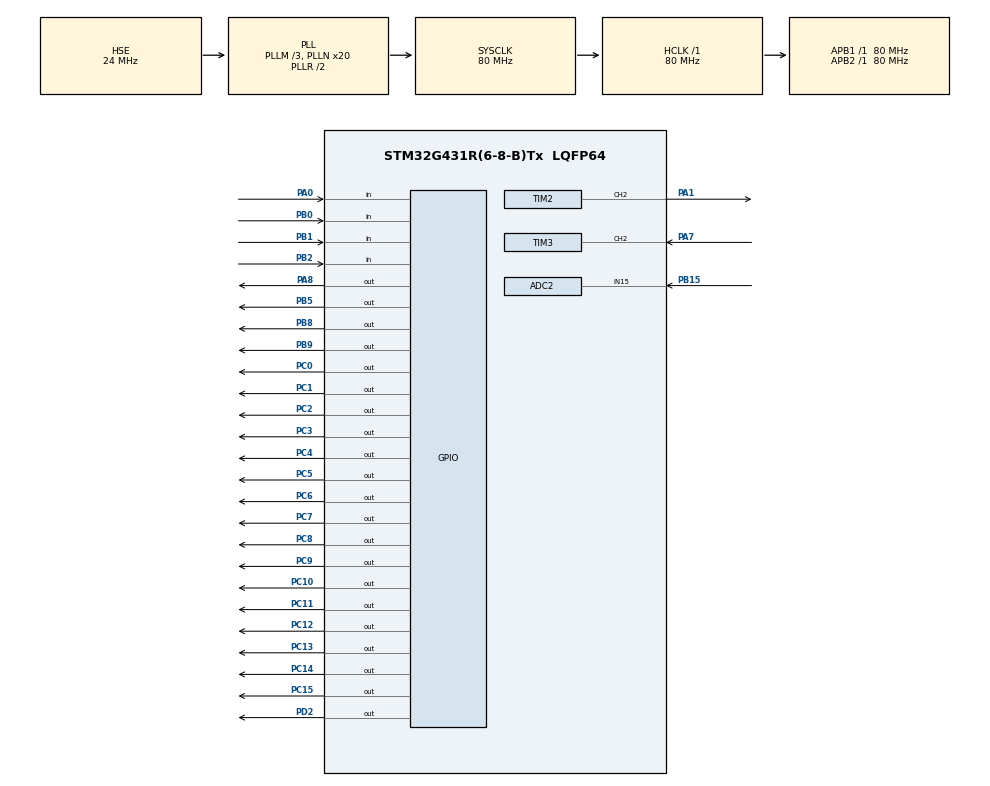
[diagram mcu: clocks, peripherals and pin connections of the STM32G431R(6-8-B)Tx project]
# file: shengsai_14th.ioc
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ADC2.Channel-0\#ChannelRegularConversion=ADC_CHANNEL_15
ADC2.NbrOfConversionFlag=1
ADC2.OffsetNumber-0\#ChannelRegularConversion=ADC_OFFSET_NONE
ADC2.Rank-0\#ChannelRegularConversion=1
ADC2.SamplingTime-0\#ChannelRegularConversion=ADC_SAMPLETIME_2CYCLES_5
Mcu.Family=STM32G4
Mcu.Name=STM32G431R(6-8-B)Tx
Mcu.Package=LQFP64
NVIC.PriorityGroup=NVIC_PRIORITYGROUP_4
NVIC.TIM1_UP_TIM16_IRQn=true\:0\:0\:false\:false\:true\:true\:true\:true
NVIC.TIM3_IRQn=true\:0\:0\:false\:false\:true\:true\:true\:true
NVIC.TIM4_IRQn=true\:1\:0\:true\:false\:true\:true\:true\:true
PA0.GPIO_PuPd=GPIO_PULLUP
PA0.Signal=GPIO_Input
PA1.Signal=S_TIM2_CH2
PA7.Signal=S_TIM3_CH2
PA8.Signal=GPIO_Output
PB0.GPIO_PuPd=GPIO_PULLUP
PB0.Signal=GPIO_Input
PB1.GPIO_PuPd=GPIO_PULLUP
PB1.Signal=GPIO_Input
PB15.Mode=IN15-Single-Ended
PB15.Signal=ADC2_IN15
PB2.GPIO_PuPd=GPIO_PULLUP
PB2.Signal=GPIO_Input
PB5.Signal=GPIO_Output
PB8-BOOT0.Signal=GPIO_Output
PB9.Signal=GPIO_Output
PC0.Signal=GPIO_Output
PC1.Signal=GPIO_Output
PC10.PinState=GPIO_PIN_SET
PC10.Signal=GPIO_Output
PC11.PinState=GPIO_PIN_SET
PC11.Signal=GPIO_Output
PC12.PinState=GPIO_PIN_SET
PC12.Signal=GPIO_Output
PC13.PinState=GPIO_PIN_SET
PC13.Signal=GPIO_Output
PC14-OSC32_IN.PinState=GPIO_PIN_SET
PC14-OSC32_IN.Signal=GPIO_Output
PC15-OSC32_OUT.PinState=GPIO_PIN_SET
PC15-OSC32_OUT.Signal=GPIO_Output
PC2.Signal=GPIO_Output
PC3.Signal=GPIO_Output
PC4.Signal=GPIO_Output
PC5.Signal=GPIO_Output
PC6.Signal=GPIO_Output
PC7.Signal=GPIO_Output
PC8.PinState=GPIO_PIN_SET
PC8.Signal=GPIO_Output
PC9.PinState=GPIO_PIN_SET
PC9.Signal=GPIO_Output
PD2.Signal=GPIO_Output
PF0-OSC_IN.Mode=HSE-External-Oscillator
PF0-OSC_IN.Signal=RCC_OSC_IN
PF1-OSC_OUT.Mode=HSE-External-Oscillator
PF1-OSC_OUT.Signal=RCC_OSC_OUT
ProjectManager.HeapSize=0x200
ProjectManager.StackSize=0x400
ProjectManager.TargetToolchain=MDK-ARM V5.32
RCC.ADC12Freq_Value=80000000
RCC.AHBFreq_Value=80000000
RCC.APB1Freq_Value=80000000
RCC.APB1TimFreq_Value=80000000
RCC.APB2Freq_Value=80000000
RCC.APB2TimFreq_Value=80000000
RCC.CortexFreq_Value=80000000
RCC.EXTERNAL_CLOCK_VALUE=12288000
RCC.HCLKFreq_Value=80000000
RCC.HSE_VALUE=24000000
RCC.HSI48_VALUE=48000000
RCC.HSI_VALUE=16000000
RCC.LSE_VALUE=32768
RCC.PLLM=RCC_PLLM_DIV3
RCC.PLLN=20
RCC.PLLSourceVirtual=RCC_PLLSOURCE_HSE
RCC.SYSCLKFreq_VALUE=80000000
RCC.SYSCLKSource=RCC_SYSCLKSOURCE_PLLCLK
RCC.USBFreq_Value=80000000
RCC.VCOOutputFreq_Value=160000000
SH.S_TIM2_CH2.0=TIM2_CH2,PWM Generation2 CH2
SH.S_TIM3_CH2.0=TIM3_CH2,Input_Capture2_from_TI2
TIM16.Prescaler=80-1
TIM2.Channel-PWM\ Generation2\ CH2=TIM_CHANNEL_2
TIM2.PeriodNoDither=200-1
TIM2.Prescaler=100-1
TIM3.Channel-Input_Capture2_from_TI2=TIM_CHANNEL_2
TIM3.Prescaler=80-1
TIM4.PeriodNoDither=10000-1
TIM4.Prescaler=80-1
VP_SYS_VS_DBSignals.Mode=DisableDeadBatterySignals
VP_TIM16_VS_ClockSourceINT.Mode=Enable_Timer
VP_TIM2_VS_ClockSourceINT.Mode=Internal
VP_TIM3_VS_ClockSourceINT.Mode=Internal
VP_TIM4_VS_ClockSourceINT.Mode=Internal
board=custom

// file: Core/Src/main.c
/* USER CODE BEGIN Header */
/**
  ******************************************************************************
  * @file           : main.c
  * @brief          : Main program body
  ******************************************************************************
  * @attention
  *
  * Copyright (c) 2024 STMicroelectronics.
  * All rights reserved.
  *
  * This software is licensed under terms that can be found in the LICENSE file
  * in the root directory of this software component.
  * If no LICENSE file comes with this software, it is provided AS-IS.
  *
  ******************************************************************************
  */
/* USER CODE END Header */
#include "main.h"
#include "adc.h"
#include "tim.h"
#include "gpio.h"

/* USER CODE BEGIN Includes */

#include "lcd.h"
#include "led.h"
#include "timer.h"
#include "myadc.h"

#include "stdio.h"
#include "String.h"

/* USER CODE END Includes */

void SystemClock_Config(void);
/* USER CODE BEGIN PFP */
void key_proc(void);
void lcd_proc(void);
void led_proc(void);

/* USER CODE END PFP */

/* USER CODE BEGIN 0 */

//led灯
unsigned char ucled;

//在lcd屏上显示的数据
unsigned char lcd_text[30];

//显示界面选择
unsigned char view=0;
__IO uint32_t uwTick_lcd;//减速函数
__IO uint32_t uwTick_led;//减速函数

//参数调整选择
unsigned char choose_RK=0;

unsigned char flag_k2=0;

/* USER CODE END 0 */

int main(void)
{

  /* MCU Configuration--------------------------------------------------------*/

  /* Reset of all peripherals, Initializes the Flash interface and the Systick. */
  HAL_Init();

  /* Configure the system clock */
  SystemClock_Config();

  /* Initialize all configured peripherals */
  MX_GPIO_Init();
  MX_ADC2_Init();
  MX_TIM2_Init();
  MX_TIM4_Init();
  MX_TIM3_Init();
  MX_TIM16_Init();
  /* USER CODE BEGIN 2 */

    led_disp(0x00);

    LCD_Init();
    LCD_Clear(Black);
    LCD_SetBackColor(Black);
    LCD_SetTextColor(White);

    HAL_TIM_Base_Start_IT(&htim4);

    HAL_TIM_PWM_Start(&htim2,TIM_CHANNEL_2);

    HAL_TIM_IC_Start_IT(&htim3,TIM_CHANNEL_2);

/* USER CODE END 2 */

  /* Infinite loop */
  while (1)
  {

    /* USER CODE BEGIN 3 */

      key_proc();
      led_proc();
      lcd_proc();
  }
  /* USER CODE END 3 */
}

void SystemClock_Config(void)
{
  RCC_OscInitTypeDef RCC_OscInitStruct = {0};
  RCC_ClkInitTypeDef RCC_ClkInitStruct = {0};

  /** Configure the main internal regulator output voltage
  */
  HAL_PWREx_ControlVoltageScaling(PWR_REGULATOR_VOLTAGE_SCALE1);

  /** Initializes the RCC Oscillators according to the specified parameters
  * in the RCC_OscInitTypeDef structure.
  */
  RCC_OscInitStruct.OscillatorType = RCC_OSCILLATORTYPE_HSE;
  RCC_OscInitStruct.HSEState = RCC_HSE_ON;
  RCC_OscInitStruct.PLL.PLLState = RCC_PLL_ON;
  RCC_OscInitStruct.PLL.PLLSource = RCC_PLLSOURCE_HSE;
  RCC_OscInitStruct.PLL.PLLM = RCC_PLLM_DIV3;
  RCC_OscInitStruct.PLL.PLLN = 20;
  RCC_OscInitStruct.PLL.PLLP = RCC_PLLP_DIV2;
  RCC_OscInitStruct.PLL.PLLQ = RCC_PLLQ_DIV2;
  RCC_OscInitStruct.PLL.PLLR = RCC_PLLR_DIV2;
  if (HAL_RCC_OscConfig(&RCC_OscInitStruct) != HAL_OK)
  {
    Error_Handler();
  }

  /** Initializes the CPU, AHB and APB buses clocks
  */
  RCC_ClkInitStruct.ClockType = RCC_CLOCKTYPE_HCLK|RCC_CLOCKTYPE_SYSCLK
                              |RCC_CLOCKTYPE_PCLK1|RCC_CLOCKTYPE_PCLK2;
  RCC_ClkInitStruct.SYSCLKSource = RCC_SYSCLKSOURCE_PLLCLK;
  RCC_ClkInitStruct.AHBCLKDivider = RCC_SYSCLK_DIV1;
  RCC_ClkInitStruct.APB1CLKDivider = RCC_HCLK_DIV1;
  RCC_ClkInitStruct.APB2CLKDivider = RCC_HCLK_DIV1;

  if (HAL_RCC_ClockConfig(&RCC_ClkInitStruct, FLASH_LATENCY_2) != HAL_OK)
  {
    Error_Handler();
  }
}

/* USER CODE BEGIN 4 */

void key_proc(void)
{
    if(1==key[0].single_flag)//B1被按下
    {
        key[0].single_flag=0;

        view++;
        if(3==view)view=0;
        LCD_Clear(Black);

    }
    else if(1==key[1].single_flag)//B2被按下
    {
        key[1].single_flag=0;

        if(0==view&&flag_k2==0)//数据界面,选择低频或高频模式，按键按下后，5秒内不可再触发切换功能
        {
            if(0==uwTick_view)
            flag_k2=1;
        }
        else if(1==view)//参数界面
        {
            choose_RK=!choose_RK;
        }

    }
    else if(1==key[2].single_flag)//B3被按下
    {
        key[2].single_flag=0;
        if(1==view)//参数界面，当前可调整参数加1
        {
            if(0==choose_RK)//可调整参数为R
            {
                R++;
                if(R>10)R=1;
            }
            else if(1==choose_RK)//可调整参数为K
            {
                K++;
                if(K>10)K=1;
            }
        }
    }
    else if(1==key[3].single_flag)//B4被按下
    {
        key[3].single_flag=0;
        if(1==view)//参数界面，当前可调整参数减1
        {
            if(0==choose_RK)//可调整参数为R
            {
                R--;
                if(R<=0)R=10;
            }
            else if(1==choose_RK)//可调整参数为K
            {
                K--;
                if(K<=0)K=10;
            }
        }
        else if(0==view)//数据界面
        {

            if(1==key[3].long_single)
            {
                lock=1;//进入锁定模式
                key[3].long_single=0;
            }
            else
            {
                if(lock==1)
                {
                    lock=0;//实现解锁
                }
            }
        }
    }

}

void lcd_proc(void)
{
   if((uwTick-uwTick_lcd)<=100)return;
        uwTick_lcd=uwTick;

//   if((200==pa1_frq)&&(speed_v>L_max))L_max=speed_v;
//    if((100==pa1_frq)&&(speed_v>H_max))H_max=speed_v;

    switch(view)
    {
        case 0://数据显示界面
            choose_RK=0;//数据界面进入到参数界面，默认可调整的参数为R
            memset(lcd_text,0,sizeof(lcd_text));
            sprintf((char *)lcd_text,"        %s","DATA");
            LCD_DisplayStringLine(Line1,lcd_text);

            if(200==pa1_frq)//低频模式  //频率完全改变完后改变M的值
            {
                memset(lcd_text,0,sizeof(lcd_text));
                sprintf((char *)lcd_text,"     %s             ","M=L");
                LCD_DisplayStringLine(Line3,lcd_text);

            }
            else if(100==pa1_frq)//高频模式
            {
                memset(lcd_text,0,sizeof(lcd_text));
                sprintf((char *)lcd_text,"     %s             ","M=H");
                LCD_DisplayStringLine(Line3,lcd_text);
            }

            memset(lcd_text,0,sizeof(lcd_text));
            sprintf((char *)lcd_text,"     P=%d%%             ",pa1_duty);
            LCD_DisplayStringLine(Line4,lcd_text);

            memset(lcd_text,0,sizeof(lcd_text));
            sprintf((char *)lcd_text,"     V=%0.1f             ",speed_v);
            LCD_DisplayStringLine(Line5,lcd_text);

            break;
        case 1://参数界面
            memset(lcd_text,0,sizeof(lcd_text));
            sprintf((char *)lcd_text,"        %s             ","PARA");
            LCD_DisplayStringLine(Line1,lcd_text);

            memset(lcd_text,0,sizeof(lcd_text));
            sprintf((char *)lcd_text,"     R=%02d             ",R);
            LCD_DisplayStringLine(Line3,lcd_text);

            memset(lcd_text,0,sizeof(lcd_text));
            sprintf((char *)lcd_text,"     K=%02d             ",K);
            LCD_DisplayStringLine(Line4,lcd_text);
            break;
        case 2://记录界面
            memset(lcd_text,0,sizeof(lcd_text));
            sprintf((char *)lcd_text,"        %s             ","RECD");
            LCD_DisplayStringLine(Line1,lcd_text);

            memset(lcd_text,0,sizeof(lcd_text));
            sprintf((char *)lcd_text,"     N=%d             ",pwm_n);
            LCD_DisplayStringLine(Line3,lcd_text);

            memset(lcd_text,0,sizeof(lcd_text));
            sprintf((char *)lcd_text,"     MH=%0.1f             ",H_max);
            LCD_DisplayStringLine(Line4,lcd_text);

            memset(lcd_text,0,sizeof(lcd_text));
            sprintf((char *)lcd_text,"     ML=%0.1f             ",L_max);
            LCD_DisplayStringLine(Line5,lcd_text);
            break;
    }
}

void led_proc(void)
{
    if((uwTick-uwTick_led)<100)return;
    uwTick_led=uwTick;

    //数据界面：LED1亮
    if(0==view)
    {
        ucled=ucled|0x01;
    }
    else
    {
        ucled=ucled&0xef;
    }

    //锁定状态：LED3亮
    if(1==lock)
    {
        ucled|=0x04;
    }
    else
    {
        ucled=ucled&0xfb;
    }

    led_disp(ucled);

}

/* USER CODE END 4 */

void Error_Handler(void)
{
  __disable_irq();
  while (1)
  {
  }
}
